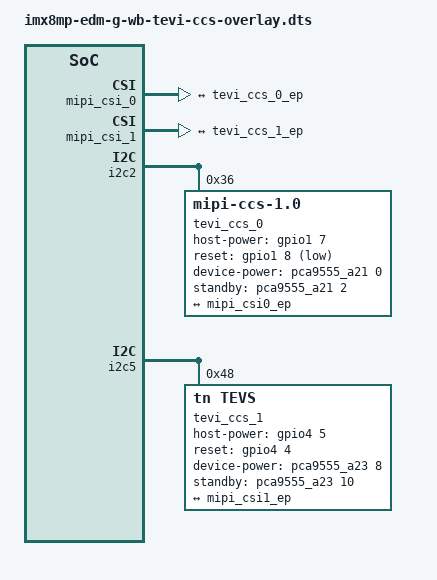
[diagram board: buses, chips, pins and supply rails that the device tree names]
// SPDX-License-Identifier: (GPL-2.0+ OR MIT)
/*
 * Copyright 2023 TechNexion Ltd.
 *
 */

/dts-v1/;
/plugin/;

#include <dt-bindings/interrupt-controller/irq.h>
#include <dt-bindings/clock/imx8mp-clock.h>
#include <dt-bindings/gpio/gpio.h>

/ {
	fragment@0 {
		target = <&mipi_csi_0>;
		__overlay__ {
			#address-cells = <1>;
			#size-cells = <0>;
			status = "okay";

			port@0 {
				reg = <0>;
				mipi_csi0_ep: endpoint {
					remote-endpoint = <&tevi_ccs_0_ep>;
					data-lanes = <4>;
					csis-hs-settle = <19>;
					csis-clk-settle = <2>;
					csis-wclk;
				};
			};
		};
	};

	fragment@1 {
		target = <&mipi_csi_1>;
		__overlay__ {
			#address-cells = <1>;
			#size-cells = <0>;
			status = "okay";

			port@1 {
				reg = <1>;
				mipi_csi1_ep: endpoint {
					remote-endpoint = <&tevi_ccs_1_ep>;
					data-lanes = <4>;
					csis-hs-settle = <19>;
					csis-clk-settle = <2>;
					csis-wclk;
				};
			};
		};
	};

	fragment@2 {
		target = <&i2c2>;
		__overlay__ {
			#address-cells = <1>;
			#size-cells = <0>;

			tevi_ccs_0: tevi_ccs@36 {
				compatible = "mipi-ccs-1.0", "mipi-ccs";
				reg = <0x36>;

				pinctrl-names = "default";
				pinctrl-0 = <&pinctrl_csi0_pwn>, <&pinctrl_csi0_rst>;
				host-power-gpios = <&gpio1 7 GPIO_ACTIVE_HIGH>;
				reset-gpios = <&gpio1 8 GPIO_ACTIVE_LOW>;
				device-power-gpios = <&pca9555_a21 0 GPIO_ACTIVE_HIGH>;
				standby-gpios = <&pca9555_a21 2 GPIO_ACTIVE_HIGH>;
				data-lanes = <2>;
				continuous-clock = <0>;
				status = "okay";
				clocks = <&media_blk_ctrl IMX8MP_CLK_MEDIA_BLK_CTRL_ISP_COR>,
						<&media_blk_ctrl IMX8MP_CLK_MEDIA_BLK_CTRL_ISP_AXI>,
						<&media_blk_ctrl IMX8MP_CLK_MEDIA_BLK_CTRL_ISP_AHB>,
						<&media_blk_ctrl IMX8MP_CLK_MEDIA_BLK_CTRL_MIPI_CSI_ACLK>;

				port {
					tevi_ccs_0_ep: endpoint {
						data-lanes = <1 2>;
						remote-endpoint = <&mipi_csi0_ep>;
						link-frequencies = /bits/ 64 <199200000 210000000
													499200000>;
						bus-type = <4>;
					};
				};
			};
		};
	};

	fragment@3 {
		target = <&i2c5>;
		__overlay__ {
			#address-cells = <1>;
			#size-cells = <0>;

			tevi_ccs_1: tevi_ccs@48 {
				compatible = "tn,tevs", "mipi-ccs-1.0", "mipi-ccs";
				reg = <0x48>;

				pinctrl-names = "default";
				pinctrl-0 = <&pinctrl_csi1_pwn>, <&pinctrl_csi1_rst>;
				host-power-gpios = <&gpio4 5 GPIO_ACTIVE_HIGH>;
				reset-gpios = <&gpio4 4 GPIO_ACTIVE_HIGH>;
				device-power-gpios = <&pca9555_a23 8 GPIO_ACTIVE_HIGH>;
				standby-gpios = <&pca9555_a23 10 GPIO_ACTIVE_HIGH>;
				data-lanes = <4>;
				continuous-clock = <0>;
				status = "okay";
				clocks = <&media_blk_ctrl IMX8MP_CLK_MEDIA_BLK_CTRL_ISP_COR>,
						<&media_blk_ctrl IMX8MP_CLK_MEDIA_BLK_CTRL_ISP_AXI>,
						<&media_blk_ctrl IMX8MP_CLK_MEDIA_BLK_CTRL_ISP_AHB>,
						<&media_blk_ctrl IMX8MP_CLK_MEDIA_BLK_CTRL_MIPI_CSI_ACLK>;

				port {
					tevi_ccs_1_ep: endpoint {
						data-lanes = <1 2>;
						remote-endpoint = <&mipi_csi1_ep>;
						link-frequencies = /bits/ 64 <199200000 210000000
													499200000>;
						bus-type = <4>;
					};
				};
			};
		};
	};
};
